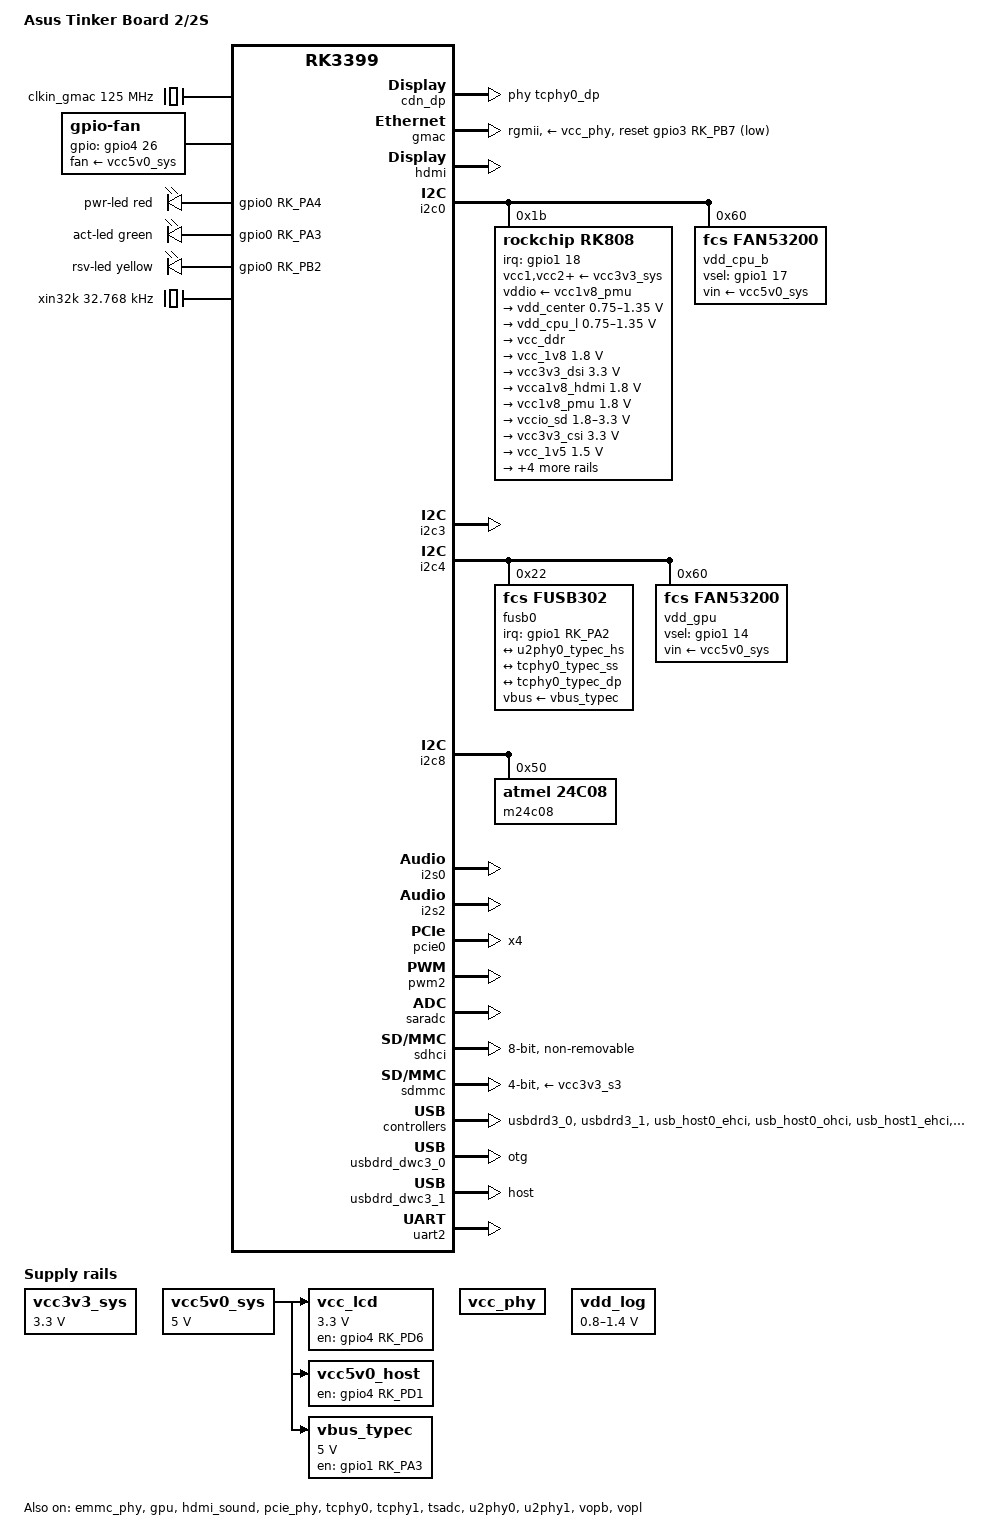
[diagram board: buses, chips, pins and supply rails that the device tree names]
// SPDX-License-Identifier: (GPL-2.0+ OR MIT)
/*
 * Copyright (c) 2016 Fuzhou Rockchip Electronics Co., Ltd
 * Copyright (c) 2021 Thomas McKahan
 */

/dts-v1/;
#include <dt-bindings/leds/common.h>
#include <dt-bindings/pwm/pwm.h>
#include <dt-bindings/pinctrl/rockchip.h>
#include <dt-bindings/usb/pd.h>
#include "rk3399.dtsi"
#include "rk3399-op1.dtsi"

/ {
	model = "Asus Tinker Board 2/2S";
	compatible = "rockchip,rk3399-evb", "rockchip,rk3399";

	chosen {
		stdout-path = "serial2:1500000n8";
	};

	board_info: board-info {
		compatible = "board-info";

		hw-id0 = <&gpio4 RK_PA7 GPIO_ACTIVE_HIGH>;
		hw-id1 = <&gpio4 RK_PA6 GPIO_ACTIVE_HIGH>;
		hw-id2 = <&gpio4 RK_PA5 GPIO_ACTIVE_HIGH>;

		pid-id0 = <&gpio2 RK_PA5 GPIO_ACTIVE_HIGH>;
		pid-id1 = <&gpio2 RK_PA3 GPIO_ACTIVE_HIGH>;
		pid-id2 = <&gpio2 RK_PA2 GPIO_ACTIVE_HIGH>;

		ddr-id1 = <&gpio4 RK_PA4 GPIO_ACTIVE_HIGH>;
		ddr-id2 = <&gpio4 RK_PA0 GPIO_ACTIVE_HIGH>;

		pmic-reset = <&gpio1 RK_PA6 GPIO_ACTIVE_HIGH>;
	};

	clkin_gmac: external-gmac-clock {
		compatible = "fixed-clock";
		clock-frequency = <125000000>;
		clock-output-names = "clkin_gmac";
		#clock-cells = <0>;
	};

	fan: gpio-fan {
		compatible = "gpio-fan";
		gpios = <&gpio4 26 GPIO_ACTIVE_HIGH>;
		/* arbitrary speed values,
		 * actually only full speed and lower speed. */
		gpio-fan,speed-map = <50 0>,
							<100 1>;
		#cooling-cells = <2>;
		fan-supply = <&vcc5v0_sys>;
		pinctrl-names = "default";
		pinctrl-0 = <&gpio_fan_pin>;
	};

	gpio-leds {
		compatible = "gpio-leds";

		pwr-led {
			gpios = <&gpio0 RK_PA4 GPIO_ACTIVE_HIGH>;
			color = <LED_COLOR_ID_RED>;
			linux,default-trigger = "default-on";
			retain-state-suspended = <1>;
		};

		act-led {
			gpios = <&gpio0 RK_PA3 GPIO_ACTIVE_HIGH>;
			color = <LED_COLOR_ID_GREEN>;
			linux,default-trigger="mmc0";
		};

		rsv-led {
			gpios = <&gpio0 RK_PB2 GPIO_ACTIVE_HIGH>;
			color = <LED_COLOR_ID_YELLOW>;
			linux,default-trigger="heartbeat";
		};
	};

	vcc_lcd: vcc-lcd {
		compatible = "regulator-fixed";
		regulator-name = "vcc_lcd";
		gpio = <&gpio4 RK_PD6 GPIO_ACTIVE_HIGH>;
		startup-delay-us = <20000>;
		enable-active-high;
		regulator-min-microvolt = <3300000>;
		regulator-max-microvolt = <3300000>;
		regulator-boot-on;
		vin-supply = <&vcc5v0_sys>;
	};

	vcc3v3_sys: vcc3v3-sys {
		compatible = "regulator-fixed";
		regulator-name = "vcc3v3_sys";
		regulator-always-on;
		regulator-boot-on;
		regulator-min-microvolt = <3300000>;
		regulator-max-microvolt = <3300000>;
	};

	vcc5v0_host: vcc5v0-host-regulator {
		compatible = "regulator-fixed";
		enable-active-high;
		gpio = <&gpio4 RK_PD1 GPIO_ACTIVE_HIGH>;
		pinctrl-names = "default";
		pinctrl-0 = <&vcc5v0_host_en>;
		regulator-name = "vcc5v0_host";
		vin-supply = <&vcc5v0_sys>;
	};

	vcc5v0_sys: vcc5v0-sys {
		compatible = "regulator-fixed";
		regulator-name = "vcc5v0_sys";
		regulator-always-on;
		regulator-boot-on;
		regulator-min-microvolt = <5000000>;
		regulator-max-microvolt = <5000000>;
	};

	vcc_phy: vcc-phy-regulator {
		compatible = "regulator-fixed";
		regulator-name = "vcc_phy";
		regulator-always-on;
		regulator-boot-on;
	};

	vbus_typec: vbus-5vout {
		compatible = "regulator-fixed";
		enable-active-high;
		gpio = <&gpio1 RK_PA3 GPIO_ACTIVE_HIGH>;
		pinctrl-names = "default";
		pinctrl-0 = <&vcc5v0_typec0_en_pin>;
		regulator-name = "vbus_5vout";
		regulator-min-microvolt = <5000000>;
		regulator-max-microvolt = <5000000>;
		vin-supply = <&vcc5v0_sys>;

		regulator-state-mem {
			regulator-off-in-suspend;
		};
	};

	vdd_log: vdd-log {
		compatible = "pwm-regulator";
		pwms = <&pwm2 0 25000 1>;
		regulator-name = "vdd_log";
		regulator-min-microvolt = <800000>;
		regulator-max-microvolt = <1400000>;
		regulator-always-on;
		regulator-boot-on;

		/* for rockchip boot on */
		rockchip,pwm_id= <2>;
		rockchip,pwm_voltage = <900000>;
	};

	xin32k: xin32k {
		compatible = "fixed-clock";
		clock-frequency = <32768>;
		clock-output-names = "xin32k";
		#clock-cells = <0>;
	};

	typec_extcon_bridge: typec-extcon {
		compatible = "linux,typec-extcon-bridge";
		usb-role-switch;
		orientation-switch;
		mode-switch;
		svid = /bits/ 16 <0xff01>;
	};
};

&cdn_dp {
	status = "okay";
	extcon = <&typec_extcon_bridge>;
	phys = <&tcphy0_dp>;
};

&cpu_l0 {
	cpu-supply = <&vdd_cpu_l>;
};

&cpu_l1 {
	cpu-supply = <&vdd_cpu_l>;
};

&cpu_l2 {
	cpu-supply = <&vdd_cpu_l>;
};

&cpu_l3 {
	cpu-supply = <&vdd_cpu_l>;
};

&cpu_b0 {
	cpu-supply = <&vdd_cpu_b>;
};

&cpu_b1 {
	cpu-supply = <&vdd_cpu_b>;
};

&emmc_phy {
	status = "okay";
};

&gmac {
	assigned-clocks = <&cru SCLK_RMII_SRC>;
	assigned-clock-parents = <&cru SCLK_MAC>;
	clock_in_out = "input";
	assigned-clock-rates = <125000000>;
	phy-supply = <&vcc_phy>;
	phy-mode = "rgmii";
	pinctrl-names = "default";
	pinctrl-0 = <&rgmii_pins>;
	snps,reset-gpio = <&gpio3 RK_PB7 GPIO_ACTIVE_LOW>;
	snps,reset-active-low;
	snps,reset-delays-us = <0 16000 72000>;
	tx_delay = <0x25>;
	rx_delay = <0x20>;
	wakeup-enable = "0";
	status = "okay";
};
&gpu {
	mali-supply = <&vdd_gpu>;
	status = "okay";
};

&hdmi {
	ddc-i2c-bus = <&i2c3>;
	status = "okay";
};

&hdmi_sound {
	status = "okay";
};

&i2c0 {
	status = "okay";

	rk808: pmic@1b {
		compatible = "rockchip,rk808";
		reg = <0x1b>;
		interrupt-parent = <&gpio1>;
		interrupts = <18 IRQ_TYPE_LEVEL_LOW>;
		pinctrl-names = "default";
		pinctrl-0 = <&pmic_int_l>;
		system-power-controller;
		wakeup-source;
		#clock-cells = <1>;
		clock-output-names = "rk808-clkout1", "rk808-clkout2";

		vcc1-supply = <&vcc3v3_sys>;
		vcc2-supply = <&vcc3v3_sys>;
		vcc3-supply = <&vcc3v3_sys>;
		vcc4-supply = <&vcc3v3_sys>;
		vcc6-supply = <&vcc3v3_sys>;
		vcc7-supply = <&vcc3v3_sys>;
		vcc8-supply = <&vcc3v3_sys>;
		vcc9-supply = <&vcc3v3_sys>;
		vcc10-supply = <&vcc3v3_sys>;
		vcc11-supply = <&vcc3v3_sys>;
		vcc12-supply = <&vcc3v3_sys>;
		vddio-supply = <&vcc1v8_pmu>;

		regulators {
			vdd_center: DCDC_REG1 {
				regulator-name = "vdd_center";
				regulator-min-microvolt = <750000>;
				regulator-max-microvolt = <1350000>;
				regulator-ramp-delay = <6001>;
				regulator-always-on;
				regulator-boot-on;
				regulator-state-mem {
					regulator-on-in-suspend;
					regulator-suspend-microvolt = <900000>;
				};
			};

			vdd_cpu_l: DCDC_REG2 {
				regulator-name = "vdd_cpu_l";
				regulator-min-microvolt = <750000>;
				regulator-max-microvolt = <1350000>;
				regulator-ramp-delay = <6001>;
				regulator-always-on;
				regulator-boot-on;
				regulator-state-mem {
					regulator-off-in-suspend;
				};
			};

			vcc_ddr: DCDC_REG3 {
				regulator-name = "vcc_ddr";
				regulator-always-on;
				regulator-boot-on;
				regulator-state-mem {
					regulator-on-in-suspend;
				};
			};

			vcc_1v8: DCDC_REG4 {
				regulator-name = "vcc_1v8";
				regulator-min-microvolt = <1800000>;
				regulator-max-microvolt = <1800000>;
				regulator-always-on;
				regulator-boot-on;
				regulator-state-mem {
					regulator-on-in-suspend;
					regulator-suspend-microvolt = <1800000>;
				};
			};

			vcc3v3_dsi: LDO_REG1 {
				regulator-name = "vcc3v3_dsi";
				regulator-min-microvolt = <3300000>;
				regulator-max-microvolt = <3300000>;
				regulator-always-on;
				regulator-boot-on;
				regulator-state-mem {
					regulator-off-in-suspend;
				};
			};

			vcca1v8_hdmi: LDO_REG2 {
				regulator-name = "vcca1v8_hdmi";
				regulator-min-microvolt = <1800000>;
				regulator-max-microvolt = <1800000>;
				regulator-always-on;
				regulator-boot-on;
				regulator-state-mem {
					regulator-off-in-suspend;
				};
			};

			vcc1v8_pmu: LDO_REG3 {
				regulator-name = "vcc1v8_pmu";
				regulator-min-microvolt = <1800000>;
				regulator-max-microvolt = <1800000>;
				regulator-always-on;
				regulator-boot-on;
				regulator-state-mem {
					regulator-on-in-suspend;
					regulator-suspend-microvolt = <1800000>;
				};
			};

			vccio_sd: LDO_REG4 {
				regulator-name = "vccio_sd";
				regulator-min-microvolt = <1800000>;
				regulator-max-microvolt = <3300000>;
				regulator-always-on;
				regulator-boot-on;
				regulator-state-mem {
					regulator-on-in-suspend;
					regulator-suspend-microvolt = <3000000>;
				};
			};

			vcc3v3_csi: LDO_REG5 {
				regulator-name = "vcc3v3_csi";
				regulator-min-microvolt = <3300000>;
				regulator-max-microvolt = <3300000>;
				regulator-always-on;
				regulator-boot-on;
				regulator-state-mem {
					regulator-off-in-suspend;
				};
			};

			vcc_1v5: LDO_REG6 {
				regulator-name = "vcc_1v5";
				regulator-min-microvolt = <1500000>;
				regulator-max-microvolt = <1500000>;
				regulator-always-on;
				regulator-boot-on;
				regulator-state-mem {
					regulator-on-in-suspend;
					regulator-suspend-microvolt = <1500000>;
				};
			};

			vcca0v9_hdmi: LDO_REG7 {
				regulator-name = "vcca0v9_hdmi";
				regulator-min-microvolt = <900000>;
				regulator-max-microvolt = <900000>;
				regulator-always-on;
				regulator-boot-on;
				regulator-state-mem {
					regulator-off-in-suspend;
				};
			};

			vcc_3v0: LDO_REG8 {
				regulator-name = "vcc_3v0";
				regulator-min-microvolt = <3000000>;
				regulator-max-microvolt = <3000000>;
				regulator-always-on;
				regulator-boot-on;
				regulator-state-mem {
					regulator-on-in-suspend;
					regulator-suspend-microvolt = <3000000>;
				};
			};

			vcc3v3_s3: SWITCH_REG1 {
				regulator-name = "vcc3v3_s3";
				regulator-always-on;
				regulator-boot-on;
				regulator-state-mem {
					regulator-on-in-suspend;
				};
			};

			vcc3v3_s0: SWITCH_REG2 {
				regulator-name = "vcc3v3_s0";
				regulator-always-on;
				regulator-boot-on;
				regulator-state-mem {
					regulator-off-in-suspend;
				};
			};
		};
	};

	vdd_cpu_b: vdd_cpu_b@60 {
		compatible = "fcs,fan53200";
		reg = <0x60>;
		vin-supply = <&vcc5v0_sys>;
		regulator-compatible = "fan53555-regulator";
		pinctrl-names = "default";
		pinctrl-0 = <&vsel1_gpio>;
		vsel-gpios = <&gpio1 17 GPIO_ACTIVE_HIGH>;
		regulator-name = "vdd_cpu_b";
		regulator-min-microvolt = <800000>;
		regulator-max-microvolt = <1250000>;
		regulator-ramp-delay = <1000>;
		fcs,suspend-voltage-selector = <1>;
		regulator-always-on;
		regulator-boot-on;
		status = "okay";

		regulator-initial-state = <3>;
			regulator-state-mem {
			regulator-off-in-suspend;
		};
	};
};

&i2c3 {
	status = "okay";
};

&i2c4 {

	status = "okay";
	i2c-scl-rising-time-ns = <475>;
	i2c-scl-falling-time-ns = <26>;
	fusb0: fusb30x@22 {
		compatible = "fcs,fusb302";
		reg = <0x22>;
		pinctrl-names = "default";
		pinctrl-0 = <&fusb0_int>;
		interrupt-parent = <&gpio1>;
		interrupts = <RK_PA2 IRQ_TYPE_LEVEL_LOW>;
		vbus-supply = <&vbus_typec>;
		usb-role-switch = <&typec_extcon_bridge>;
		extcon = <&typec_extcon_bridge>;
		status = "okay";

		connector {
			compatible = "usb-c-connector";
			data-role = "dual";
			label = "USB-C";
			op-sink-microwatt = <1000000>;
			power-role = "dual";
			sink-pdos =
				<PDO_FIXED(5000, 500, PDO_FIXED_USB_COMM | PDO_FIXED_DUAL_ROLE | PDO_FIXED_DATA_SWAP | PDO_FIXED_EXTPOWER)>;
			source-pdos =
				<PDO_FIXED(5000, 500, PDO_FIXED_USB_COMM | PDO_FIXED_DUAL_ROLE | PDO_FIXED_DATA_SWAP | PDO_FIXED_EXTPOWER)>;
			try-power-role = "sink";
			mode-switch = <&typec_extcon_bridge>;
			orientation-switch = <&typec_extcon_bridge>;

			altmodes {
				dp {
					svid = /bits/ 16 <0xff01>;
					/* what is this? megous uses 0x1c46 for pinebook pro.
					 * dp alt spec is not open so it's based on reverse engineering and guess work */
					vdo = <0x1c46>;
				};
			};

			ports {
				#address-cells = <1>;
				#size-cells = <0>;

				port@0 {
					reg = <0>;

					usbc_hs: endpoint {
						remote-endpoint =
							<&u2phy0_typec_hs>;
					};
				};

				port@1 {
					reg = <1>;

					usbc_ss: endpoint {
						remote-endpoint =
							<&tcphy0_typec_ss>;
					};
				};

				port@2 {
					reg = <2>;

					usbc_dp: endpoint {
						remote-endpoint =
							<&tcphy0_typec_dp>;
					};
				};
			};
		};
	};

	vdd_gpu: vdd_gpu@60 {
		compatible = "fcs,fan53200";
		reg = <0x60>;
		vin-supply = <&vcc5v0_sys>;
		regulator-compatible = "fan53555-regulator";
		pinctrl-names = "default";
		pinctrl-0 = <&vsel2_gpio>;
		vsel-gpios = <&gpio1 14 GPIO_ACTIVE_HIGH>;
		regulator-name = "vdd_gpu";
		regulator-min-microvolt = <800000>;
		regulator-max-microvolt = <1200000>;
		regulator-ramp-delay = <1000>;
		fcs,suspend-voltage-selector = <1>;
		regulator-always-on;
		regulator-boot-on;
		status = "okay";

		regulator-initial-state = <3>;
			regulator-state-mem {
			regulator-off-in-suspend;
		};
	};
};

&i2c8 {
	m24c08: m24c08@50 {
		compatible = "atmel,24c08";
		reg = <0x50>;
	};
};

&i2s0 {
	rockchip,playback-channels = <8>;
	rockchip,capture-channels = <8>;
	status = "okay";
};

&i2s2 {
	status = "okay";
};

&pcie_phy {
	status = "okay";
};

&pcie0 {
	ep-gpios = <&gpio0 RK_PB4 GPIO_ACTIVE_HIGH>;
	num-lanes = <4>;
	pinctrl-names = "default";
	pinctrl-0 = <&pcie_clkreqn_cpm>;
	status = "okay";
};

&pwm0 {
	status = "disabled";
};

&pwm2 {
	status = "okay";
	pinctrl-names = "default";
	pinctrl-0 = <&pwm2_pin_pull_down>;
};

&pwm3 {
	status = "disabled";
};

&saradc {
	status = "okay";
};

&sdhci {
	bus-width = <8>;
	mmc-hs200-1_8v;
	supports-emmc;
	//mmc-hs400-enhanced-strobe;
	non-removable;
	keep-power-in-suspend;
	status = "okay";
};

&sdmmc {
	clock-frequency = <150000000>;
	clock-freq-min-max = <100000 150000000>;
	supports-sd;
	bus-width = <4>;
	cap-mmc-highspeed;
	cap-sd-highspeed;
	disable-wp;
	num-slots = <1>;
	//sd-uhs-sdr104;
	vmmc-supply = <&vcc3v3_s3>;
	vqmmc-supply = <&vccio_sd>;
	pinctrl-names = "default";
	pinctrl-0 = <&sdmmc_clk &sdmmc_cmd &sdmmc_cd &sdmmc_bus4>;
	status = "okay";
};

&tcphy0 {
	extcon = <&typec_extcon_bridge>;
	status = "okay";
};

&tcphy0_dp {
	port {
		tcphy0_typec_dp: endpoint {
			remote-endpoint = <&usbc_dp>;
		};
	};
};

&tcphy0_usb3 {
	port {
		tcphy0_typec_ss: endpoint {
			remote-endpoint = <&usbc_ss>;
		};
	};
};

&tcphy1 {
	status = "okay";
};

&tsadc {
	/* tshut mode 0:CRU 1:GPIO */
	rockchip,hw-tshut-mode = <1>;
	/* tshut polarity 0:LOW 1:HIGH */
	rockchip,hw-tshut-polarity = <1>;
	status = "okay";
};

&u2phy0 {
	status = "okay";
	extcon = <&typec_extcon_bridge>;
	extcon,ignore-usb; /* u2phy must not handle role switch */

	u2phy0_otg: otg-port {
		status = "okay";
	};

	u2phy0_host: host-port {
		phy-supply = <&vcc5v0_host>;
		status = "okay";
	};

	port {
		u2phy0_typec_hs: endpoint {
			remote-endpoint = <&usbc_hs>;
		};
	};
};

&u2phy1 {
	status = "okay";

	u2phy1_otg: otg-port {
		status = "okay";
	};

	u2phy1_host: host-port {
		phy-supply = <&vcc5v0_host>;
		status = "okay";
	};
};

&usbdrd3_0 {
	status = "okay";
};

&usbdrd_dwc3_0 {
	status = "okay";
	/* MUST be otg when DP is used so phy can reset properly */
	dr_mode = "otg";
	extcon = <&typec_extcon_bridge>;
	snps,usb3-phy-reset-quirk;
};

&usbdrd3_1 {
	status = "okay";
};

&usbdrd_dwc3_1 {
	status = "okay";
	dr_mode = "host";
};

&uart2 {
	status = "okay";
};

&usb_host0_ehci {
	status = "okay";
};

&usb_host0_ohci {
	status = "okay";
};

&usb_host1_ehci {
	status = "okay";
};

&usb_host1_ohci {
	status = "okay";
};

&pinctrl {
	fan {
		gpio_fan_pin: gpio-fan-pin {
			rockchip,pins = <4 RK_PD2 RK_FUNC_GPIO &pcfg_pull_none>;
		};
	};

	fusb30x {
		fusb0_int: fusb0-int {
			rockchip,pins = <1 RK_PA2 RK_FUNC_GPIO &pcfg_pull_up>;
		};
	};

	pmic {
		pmic_int_l: pmic-int-l {
			rockchip,pins =
				<1 RK_PC2 RK_FUNC_GPIO &pcfg_pull_up>,
				<0 RK_PB1 RK_FUNC_GPIO &pcfg_pull_none>;
		};
		vsel1_gpio: vsel1-gpio {
			rockchip,pins =
				<1 17 RK_FUNC_GPIO &pcfg_pull_down>;
		};
		vsel2_gpio: vsel2-gpio {
			rockchip,pins =
				<1 14 RK_FUNC_GPIO &pcfg_pull_down>;
		};
	};

	usb2 {
		vcc5v0_host_en: vcc5v0-host-en {
			rockchip,pins =
				<4 RK_PD1 RK_FUNC_GPIO &pcfg_pull_none>;
		};
	};

	usb-typec {
		vcc5v0_typec0_en_pin: vcc5v0-typec0-en-pin {
			rockchip,pins = <1 RK_PA3 RK_FUNC_GPIO &pcfg_pull_up>;
		};
	};
};

&vopb {
	status = "okay";
};

&vopb_mmu {
	status = "okay";
};

&vopl {
	status = "okay";
};

&vopl_mmu {
	status = "okay";
};
